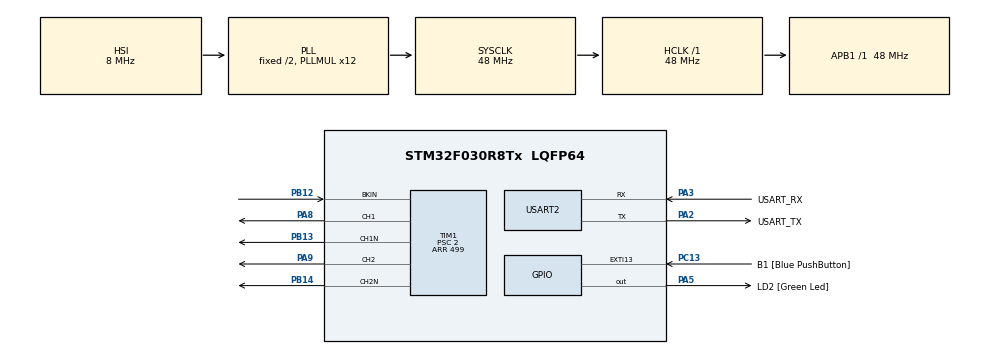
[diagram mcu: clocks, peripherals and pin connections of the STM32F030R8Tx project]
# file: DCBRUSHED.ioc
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Mcu.Family=STM32F0
Mcu.Name=STM32F030R8Tx
Mcu.Package=LQFP64
PA13.GPIO_Label=TMS
PA13.Mode=Serial_Wire
PA13.Signal=SYS_SWDIO
PA14.GPIO_Label=TCK
PA14.Mode=Serial_Wire
PA14.Signal=SYS_SWCLK
PA2.GPIO_Label=USART_TX
PA2.GPIO_Mode=GPIO_MODE_AF_PP
PA2.GPIO_PuPd=GPIO_NOPULL
PA2.GPIO_Speed=GPIO_SPEED_FREQ_LOW
PA2.Mode=Asynchronous
PA2.Signal=USART2_TX
PA3.GPIO_Label=USART_RX
PA3.GPIO_Mode=GPIO_MODE_AF_PP
PA3.GPIO_PuPd=GPIO_NOPULL
PA3.GPIO_Speed=GPIO_SPEED_FREQ_LOW
PA3.Mode=Asynchronous
PA3.Signal=USART2_RX
PA5.GPIO_Label=LD2 [Green Led]
PA5.GPIO_Mode=GPIO_MODE_OUTPUT_PP
PA5.GPIO_PuPd=GPIO_NOPULL
PA5.GPIO_Speed=GPIO_SPEED_FREQ_LOW
PA5.Signal=GPIO_Output
PA8.Signal=S_TIM1_CH1
PA9.Signal=S_TIM1_CH2
PB12.Mode=Activate-Break-Input
PB12.Signal=TIM1_BKIN
PB13.Mode=PWM Generation1 CH1 CH1N
PB13.Signal=TIM1_CH1N
PB14.Mode=PWM Generation2 CH2 CH2N
PB14.Signal=TIM1_CH2N
PC13.GPIO_Label=B1 [Blue PushButton]
PC13.GPIO_ModeDefaultEXTI=GPIO_MODE_IT_FALLING
PC13.Signal=GPXTI13
PC14-OSC32_IN.Mode=LSE-External-Oscillator
PC14-OSC32_IN.Signal=RCC_OSC32_IN
PC15-OSC32_OUT.Mode=LSE-External-Oscillator
PC15-OSC32_OUT.Signal=RCC_OSC32_OUT
PF0-OSC_IN.Mode=HSE-External-Clock-Source
PF0-OSC_IN.Signal=RCC_OSC_IN
PF1-OSC_OUT.Signal=RCC_OSC_OUT
ProjectManager.HeapSize=0x200
ProjectManager.StackSize=0x400
ProjectManager.TargetToolchain=MDK-ARM V5
RCC.AHBFreq_Value=48000000
RCC.APB1Freq_Value=48000000
RCC.APB1TimFreq_Value=48000000
RCC.HCLKFreq_Value=48000000
RCC.PLLMUL=RCC_PLL_MUL12
RCC.SYSCLKFreq_VALUE=48000000
RCC.SYSCLKSource=RCC_SYSCLKSOURCE_PLLCLK
SH.S_TIM1_CH1.0=TIM1_CH1,PWM Generation1 CH1 CH1N
SH.S_TIM1_CH2.0=TIM1_CH2,PWM Generation2 CH2 CH2N
TIM1.Channel-PWM\ Generation1\ CH1\ CH1N=TIM_CHANNEL_1
TIM1.Channel-PWM\ Generation2\ CH2\ CH2N=TIM_CHANNEL_2
TIM1.DeadTime=16
TIM1.OCNIdleState_1=TIM_OCNIDLESTATE_SET
TIM1.OCNIdleState_2=TIM_OCNIDLESTATE_SET
TIM1.OCNPolarity_1=TIM_OCNPOLARITY_LOW
TIM1.OCNPolarity_2=TIM_OCNPOLARITY_LOW
TIM1.OCPolarity_1=TIM_OCPOLARITY_LOW
TIM1.OCPolarity_2=TIM_OCPOLARITY_LOW
TIM1.Period=499
TIM1.Prescaler=2
USART2.VirtualMode-Asynchronous=VM_ASYNC
VP_TIM1_VS_ClockSourceINT.Mode=Internal
board=NUCLEO-F030R8

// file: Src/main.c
/**
  ******************************************************************************
  * @file           : main.c
  * @brief          : Main program body
  ******************************************************************************
  ** This notice applies to any and all portions of this file
  * that are not between comment pairs USER CODE BEGIN and
  * USER CODE END. Other portions of this file, whether
  * inserted by the user or by software development tools
  * are owned by their respective copyright owners.
  *
  * COPYRIGHT(c) 2018 STMicroelectronics
  *
  * Redistribution and use in source and binary forms, with or without modification,
  * are permitted provided that the following conditions are met:
  *   1. Redistributions of source code must retain the above copyright notice,
  *      this list of conditions and the following disclaimer.
  *   2. Redistributions in binary form must reproduce the above copyright notice,
  *      this list of conditions and the following disclaimer in the documentation
  *      and/or other materials provided with the distribution.
  *   3. Neither the name of STMicroelectronics nor the names of its contributors
  *      may be used to endorse or promote products derived from this software
  *      without specific prior written permission.
  *
  * THIS SOFTWARE IS PROVIDED BY THE COPYRIGHT HOLDERS AND CONTRIBUTORS "AS IS"
  * AND ANY EXPRESS OR IMPLIED WARRANTIES, INCLUDING, BUT NOT LIMITED TO, THE
  * IMPLIED WARRANTIES OF MERCHANTABILITY AND FITNESS FOR A PARTICULAR PURPOSE ARE
  * DISCLAIMED. IN NO EVENT SHALL THE COPYRIGHT HOLDER OR CONTRIBUTORS BE LIABLE
  * FOR ANY DIRECT, INDIRECT, INCIDENTAL, SPECIAL, EXEMPLARY, OR CONSEQUENTIAL
  * DAMAGES (INCLUDING, BUT NOT LIMITED TO, PROCUREMENT OF SUBSTITUTE GOODS OR
  * SERVICES; LOSS OF USE, DATA, OR PROFITS; OR BUSINESS INTERRUPTION) HOWEVER
  * CAUSED AND ON ANY THEORY OF LIABILITY, WHETHER IN CONTRACT, STRICT LIABILITY,
  * OR TORT (INCLUDING NEGLIGENCE OR OTHERWISE) ARISING IN ANY WAY OUT OF THE USE
  * OF THIS SOFTWARE, EVEN IF ADVISED OF THE POSSIBILITY OF SUCH DAMAGE.
  *
  ******************************************************************************
  */
#include "main.h"
#include "stm32f0xx_hal.h"
#include "tim.h"
#include "usart.h"
#include "gpio.h"

/* USER CODE BEGIN PV */
/* Private variables ---------------------------------------------------------*/
#define FMASTER				      48000000                        // Frequency of CPU in Hz
#define TIM1_CLK			      16000000                        // Hz
#define	TIM1_PSC			      (FMASTER / TIM1_CLK -1)
#define TIM1_PWM_FREQ	      32000                           // Hz
#define TIM1_ARR			      (TIM1_CLK / TIM1_PWM_FREQ - 1)
#define TIM1_PWM_100	      (TIM1_CLK / TIM1_PWM_FREQ)
#define DEAD_TIME			      500	                            // ns
#define	DEAD_TIME_CNT	      ((uint8_t)((float)TIM1_CLK * DEAD_TIME / 1000000000))
#define CCW                 0                               // ClockCounterWise
#define CW                  1                               // ClockWise
#define DUTY_CYCLE_PPT_MAX  967                             // 96.7%
#define Duty_Cycle_CCW_PPT Duty_Cycle_1_PPT
#define Duty_Cycle_CW_PPT  Duty_Cycle_2_PPT
/* USER CODE END PV */

void SystemClock_Config(void);

/* USER CODE BEGIN PFP */
/* Private function prototypes -----------------------------------------------*/
uint16_t Calc_CCR_Value (uint16_t Duty_Cycle_PPT);
void Set_Motor_State (int16_t Duty_Cycle_PPT_Target);
/* USER CODE END PFP */

/* USER CODE BEGIN 0 */
uint16_t Duty_Cycle_1_PPT  = 500;  // 50.0% just initial
uint16_t Duty_Cycle_2_PPT  = 250;  // 25.0% just initial
uint16_t Duty_Cycle_3_PPT  = 500;  // 50.0% just initial

uint16_t CCR1_Val;
uint16_t CCR2_Val;
uint16_t CCR3_Val;
uint8_t	Dead_Time = DEAD_TIME_CNT;

int16_t Motor_Duty_Cycle_PPT        = 0;    // Current DutyCycle, in PPT (-1000 to 1000, but limited to +-DUTY_CYCLE_PPT_MAX PartsPerThousand)
                                        // 0 is Stopped, positive is CCW, negative is CW
int16_t Motor_Duty_Cycle_PPT_Target = 0;    // Target DutyCycle, in PPT (-1000 to 1000, and 0 is Stopped)
uint16_t Ramp_PPT                 = 1;       // Motor Speed Up/Dn ramp
_Bool Main_Loop_Scan_Flag = 0;      // 1ms Main loop Scan Trigger TIM4 Interrup
/* USER CODE END 0 */

int main(void)
{

  /* MCU Configuration----------------------------------------------------------*/

  /* Reset of all peripherals, Initializes the Flash interface and the Systick. */
  HAL_Init();

  /* Configure the system clock */
  SystemClock_Config();

  /* Initialize all configured peripherals */
  MX_GPIO_Init();
  MX_USART2_UART_Init();
  MX_TIM1_Init();
  /* USER CODE BEGIN 2 */
	HAL_TIM_PWM_Start(&htim1,TIM_CHANNEL_1|TIM_CHANNEL_2);
  HAL_TIMEx_PWMN_Start(&htim1,TIM_CHANNEL_1|TIM_CHANNEL_2);
  /* USER CODE END 2 */

  /* Infinite loop */
  while (1)
  {

  /* USER CODE BEGIN 3 */
    while (!Main_Loop_Scan_Flag);                               // waits 1ms to release the main loop scan
    Main_Loop_Scan_Flag = 0;                                // reset Loop Scan flag

    /* Set the Motor Duty Cycle (CW or CCW) movement */
    Set_Motor_State (Motor_Duty_Cycle_PPT_Target);
  }
  /* USER CODE END 3 */

}

void SystemClock_Config(void)
{

  RCC_OscInitTypeDef RCC_OscInitStruct;
  RCC_ClkInitTypeDef RCC_ClkInitStruct;

    /**Initializes the CPU, AHB and APB busses clocks
    */
  RCC_OscInitStruct.OscillatorType = RCC_OSCILLATORTYPE_HSI;
  RCC_OscInitStruct.HSIState = RCC_HSI_ON;
  RCC_OscInitStruct.HSICalibrationValue = 16;
  RCC_OscInitStruct.PLL.PLLState = RCC_PLL_ON;
  RCC_OscInitStruct.PLL.PLLSource = RCC_PLLSOURCE_HSI;
  RCC_OscInitStruct.PLL.PLLMUL = RCC_PLL_MUL12;
  RCC_OscInitStruct.PLL.PREDIV = RCC_PREDIV_DIV1;
  if (HAL_RCC_OscConfig(&RCC_OscInitStruct) != HAL_OK)
  {
    _Error_Handler(__FILE__, __LINE__);
  }

    /**Initializes the CPU, AHB and APB busses clocks
    */
  RCC_ClkInitStruct.ClockType = RCC_CLOCKTYPE_HCLK|RCC_CLOCKTYPE_SYSCLK
                              |RCC_CLOCKTYPE_PCLK1;
  RCC_ClkInitStruct.SYSCLKSource = RCC_SYSCLKSOURCE_PLLCLK;
  RCC_ClkInitStruct.AHBCLKDivider = RCC_SYSCLK_DIV1;
  RCC_ClkInitStruct.APB1CLKDivider = RCC_HCLK_DIV1;

  if (HAL_RCC_ClockConfig(&RCC_ClkInitStruct, FLASH_LATENCY_1) != HAL_OK)
  {
    _Error_Handler(__FILE__, __LINE__);
  }

    /**Configure the Systick interrupt time
    */
  HAL_SYSTICK_Config(HAL_RCC_GetHCLKFreq()/1000);

    /**Configure the Systick
    */
  HAL_SYSTICK_CLKSourceConfig(SYSTICK_CLKSOURCE_HCLK);

  /* SysTick_IRQn interrupt configuration */
  HAL_NVIC_SetPriority(SysTick_IRQn, 0, 0);
}

/* USER CODE BEGIN 4 */
uint16_t Calc_CCR_Value (uint16_t Duty_Cycle_PPT)
{
  return ((uint16_t)((uint32_t)Duty_Cycle_PPT * TIM1_PWM_100 / 500) + 1) >> 1;
}

void Set_Motor_State (int16_t Duty_Cycle_PPT_Target)
{
  if (Duty_Cycle_PPT_Target > DUTY_CYCLE_PPT_MAX)                               // Limiting max CCW
    Duty_Cycle_PPT_Target = DUTY_CYCLE_PPT_MAX;
  else if (Duty_Cycle_PPT_Target < (-DUTY_CYCLE_PPT_MAX))                       // Limiting max CW
    Duty_Cycle_PPT_Target = (-DUTY_CYCLE_PPT_MAX);
  if (Ramp_PPT == 0) Ramp_PPT = 1;                                              // Limiting min Ramp Up/Dn

  if (Motor_Duty_Cycle_PPT < Duty_Cycle_PPT_Target)                             // Motor Changing Speed tending to CCW
  {
    Motor_Duty_Cycle_PPT += Ramp_PPT;                                           // Add Ramp
    if (Motor_Duty_Cycle_PPT > Duty_Cycle_PPT_Target)                           // Limiting value to target
      Motor_Duty_Cycle_PPT = Duty_Cycle_PPT_Target;
  }
  else if (Motor_Duty_Cycle_PPT > Duty_Cycle_PPT_Target)                        // Motor Changing Speed tending to CW
  {
    Motor_Duty_Cycle_PPT -= Ramp_PPT;                                           // Sub Ramp
    if (Motor_Duty_Cycle_PPT < Duty_Cycle_PPT_Target)                           // Limiting value to target
      Motor_Duty_Cycle_PPT = Duty_Cycle_PPT_Target;
  }
  else // if (Motor_Duty_Cycle_PPT == Duty_Cycle_PPT_Target)                    // Motor keeping Speed constant
  {
    // Nothing to do
  }

  if (Motor_Duty_Cycle_PPT == 0)
  {
    Duty_Cycle_CCW_PPT = 0;                                                     // 0% DutyCycle, means CCW arm at Low (0V)
    Duty_Cycle_CW_PPT = 0;                                                      // 0% DutyCycle, means CW arm at Low (0V)
  }
  else if (Motor_Duty_Cycle_PPT > 0)                                            // Motor running CCW
  {
    Duty_Cycle_CCW_PPT = Motor_Duty_Cycle_PPT;                                  // Set CCW DutyCycle as positive voltage
    Duty_Cycle_CW_PPT = 0;                                                      // 0% DutyCycle, means CW arm at Low (0V)
  }
  else // if (Motor_Duty_Cycle_PPT < 0)                                         // Motor running CW
  {
    Duty_Cycle_CW_PPT = -Motor_Duty_Cycle_PPT;                                  // Set CW DutyCycle as positive voltage
    Duty_Cycle_CCW_PPT = 0;                                                     // 0% DutyCycle, means CCW arm at Low (0V)
  }
  CCR1_Val = Calc_CCR_Value(Duty_Cycle_CCW_PPT);
  CCR2_Val = Calc_CCR_Value(Duty_Cycle_CW_PPT);
	TIM1->CCR1 = CCR1_Val;
	TIM1->CCR2 = CCR2_Val;
}
/* USER CODE END 4 */

void _Error_Handler(char *file, int line)
{
  while(1)
  {
  }
}

/************************ (C) COPYRIGHT STMicroelectronics *****END OF FILE****/
